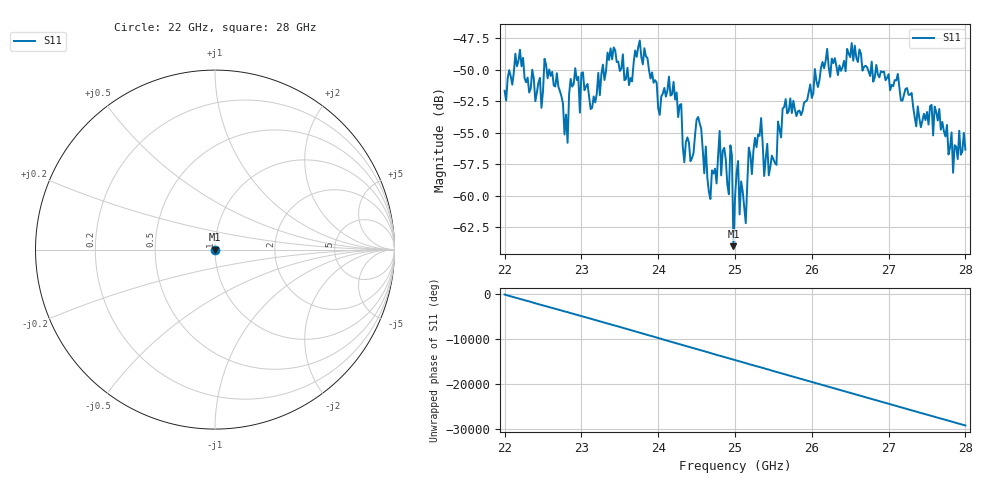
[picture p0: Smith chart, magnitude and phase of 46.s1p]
#  HZ  S  RI  R  50.00
! Rohde & Schwarz ZVA40 4Ports - Version 3.90 - 1145.1110k42 SN: 100403
! Date: 2023-10-04 07:35:45
! Measurement: S12
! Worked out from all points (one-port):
!   301 points, 22 GHz to 28 GHz, reference 50 ohm
!   lowest |S11| = -64.0 dB at 24.98 GHz (marker M1), VSWR 1.00, Z = 49.9 - j0.0288 ohm
!   |S11| at or under -10 dB: start of sweep to end of sweep
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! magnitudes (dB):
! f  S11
! 22 GHz  -51.7
! 22.2 GHz  -48.4
! 22.76 GHz  -52.7
! 22.82 GHz  -55.8
! 22.92 GHz  -49.9
! 22.98 GHz  -53.4
! 23.5 GHz  -50.1
! 23.76 GHz  -47.7
! 24.26 GHz  -53.8
! 24.34 GHz  -57.4
! 24.52 GHz  -53.7
! 24.68 GHz  -60.3
! 24.8 GHz  -54.9
! 24.92 GHz  -59.9
! 24.94 GHz  -56.0
! 24.96 GHz  -56.8
! 24.98 GHz  -64.0
! 25 GHz  -60.2
! 25.04 GHz  -57.3
! 25.06 GHz  -61.5
! 25.14 GHz  -62.2
! 25.18 GHz  -56.2
! 25.34 GHz  -53.8
! 25.44 GHz  -58.4
! 25.76 GHz  -52.5
! 26.5 GHz  -49.0
! 27.26 GHz  -52.0
! 28 GHz  -56.4
